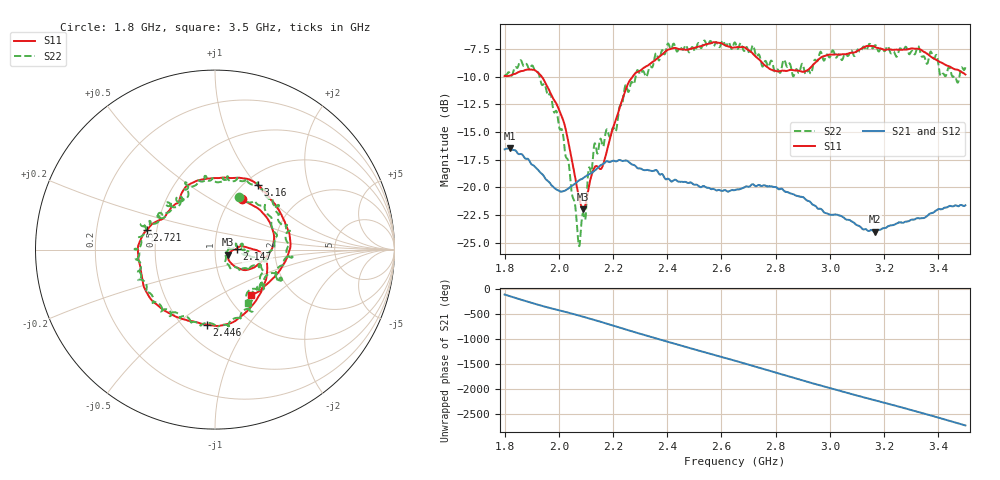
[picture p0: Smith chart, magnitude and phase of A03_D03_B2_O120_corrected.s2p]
! Created with skrf 1.9.0 (http://scikit-rf.org).
# Hz S RI R 50.0
!freq ReS11 ImS11 ReS21 ImS21 ReS12 ImS12 ReS22 ImS22
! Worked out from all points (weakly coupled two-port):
!   1601 points, 1.8 GHz to 3.5 GHz, reference 50 ohm
!   highest |S21| = -16.47 dB at 1.818 GHz (marker M1); lowest = -24.0 dB at 3.165 GHz (marker M2)
!   lowest |S11| = -22.0 dB at 2.09 GHz (marker M3), VSWR 1.17, Z = 57.9 - j3.3 ohm
!   |S11| at or under -10 dB: 1.937 GHz to 2.273 GHz (335.9 MHz wide, 16 % of centre)
!   |S22| runs from -25.3 to -6.7 dB; largest |S21 - S12| = 0.0025
!   S11 on the Smith chart (normalised r, x): 1.8 GHz: 1.12, +0.70; 2.147 GHz: 1.28, +0.00; 2.446 GHz: 0.65, -0.66; 2.721 GHz: 0.44, +0.11; 3.16 GHz: 1.15, +1.02; 3.5 GHz: 1.27, -0.72
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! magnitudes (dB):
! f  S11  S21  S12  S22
! 1.8 GHz  -9.9  -16.6  -16.6  -9.8
! 1.818 GHz  -9.9  -16.5  -16.5  -9.7
! 1.903 GHz  -9.4  -18.0  -18.0  -9.0
! 1.968 GHz  -11.4  -19.6  -19.7  -11.5
! 2.015 GHz  -13.8  -20.4  -20.4  -15.1
! 2.072 GHz  -20.6  -19.4  -19.5  -25.0
! 2.084 GHz  -21.7  -19.3  -19.2  -23.1
! 2.09 GHz  -22.0  -19.2  -19.2  -22.4
! 2.112 GHz  -19.8  -18.8  -18.8  -18.2
! 2.147 GHz  -18.3  -18.2  -18.1  -16.3
! 2.209 GHz  -14.0  -17.7  -17.6  -15.0
! 2.259 GHz  -10.5  -17.7  -17.7  -11.3
! 2.367 GHz  -8.3  -18.7  -18.6  -8.5
! 2.446 GHz  -7.5  -19.5  -19.5  -7.3
! 2.65 GHz  -7.4  -20.2  -20.2  -6.9
! 2.721 GHz  -8.1  -19.8  -19.7  -7.5
! 2.934 GHz  -9.1  -21.5  -21.5  -9.5
! 3.16 GHz  -7.3  -24.0  -23.9  -7.4
! 3.165 GHz  -7.3  -24.0  -24.0  -7.2
! 3.217 GHz  -7.6  -23.5  -23.5  -7.4
! 3.468 GHz  -9.4  -21.7  -21.7  -10.4
! 3.5 GHz  -9.8  -21.6  -21.6  -9.2
